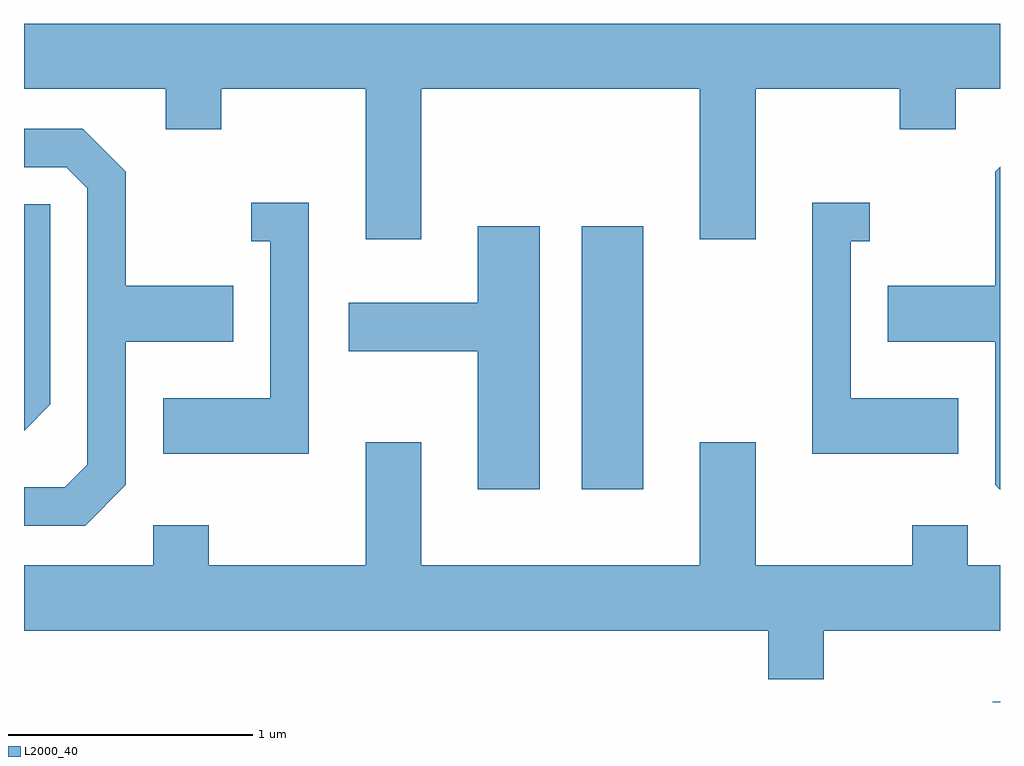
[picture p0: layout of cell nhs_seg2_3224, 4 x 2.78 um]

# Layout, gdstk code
import gdstk
lib = gdstk.Library(unit=1e-6, precision=1e-09)
def R(c, l, rs):  # rectangles x0, y0, x1, y1
    for r in rs: c.add(gdstk.rectangle(r[:2], r[2:], *l))
def P(c, l, *ps):  # polygons
    for p in ps: c.add(gdstk.Polygon(p, *l))
L2000_40 = (2000, 40)

nhs_seg2_3224 = lib.new_cell('nhs_seg2_3224')
R(nhs_seg2_3224, L2000_40, [(283.581,1045.802,283.611,1045.804), (281.896,1046.676,282.149,1047.754)])
P(nhs_seg2_3224, L2000_40, [(281.239,1048.316),(282.381,1048.316),(282.381,1047.701),(282.609,1047.701),(282.609,1048.316),(283.201,1048.316),(283.201,1048.151),(283.429,1048.151),(283.429,1048.316),(283.611,1048.316),(283.611,1048.584),(279.611,1048.584),(279.611,1048.316),(280.191,1048.316),(280.191,1048.151),(280.419,1048.151),(280.419,1048.316),(281.011,1048.316),(281.011,1047.701),(281.239,1047.701)],
  [(280.029,1046.694),(280.029,1047.281),(280.469,1047.281),(280.469,1047.509),(280.029,1047.509),(280.029,1047.977),(279.852,1048.154),(279.611,1048.154),(279.611,1047.996),(279.784,1047.996),(279.871,1047.909),(279.871,1046.777),(279.779,1046.684),(279.611,1046.684),(279.611,1046.526),(279.862,1046.526)],
  [(283.611,1047.997),(283.591,1047.977),(283.591,1047.509),(283.151,1047.509),(283.151,1047.281),(283.591,1047.281),(283.591,1046.694),(283.611,1046.674)],
  [(280.779,1047.849),(280.543,1047.849),(280.543,1047.691),(280.621,1047.691),(280.621,1047.049),(280.181,1047.049),(280.181,1046.821),(280.779,1046.821)],
  [(283.439,1047.049),(282.999,1047.049),(282.999,1047.691),(283.078,1047.691),(283.078,1047.849),(282.841,1047.849),(282.841,1046.821),(283.439,1046.821)],
  [(279.719,1047.024),(279.719,1047.844),(279.611,1047.844),(279.611,1046.915)],
  [(281.724,1047.754),(281.471,1047.754),(281.471,1047.439),(280.941,1047.439),(280.941,1047.241),(281.471,1047.241),(281.471,1046.676),(281.724,1046.676)],
  [(282.889,1046.096),(283.611,1046.096),(283.611,1046.364),(283.479,1046.364),(283.479,1046.529),(283.251,1046.529),(283.251,1046.364),(282.609,1046.364),(282.609,1046.869),(282.381,1046.869),(282.381,1046.364),(281.239,1046.364),(281.239,1046.869),(281.011,1046.869),(281.011,1046.364),(280.369,1046.364),(280.369,1046.529),(280.141,1046.529),(280.141,1046.364),(279.611,1046.364),(279.611,1046.096),(282.661,1046.096),(282.661,1045.896),(282.889,1045.896)])

lib.write_gds('nhs_seg2_3224.gds')
